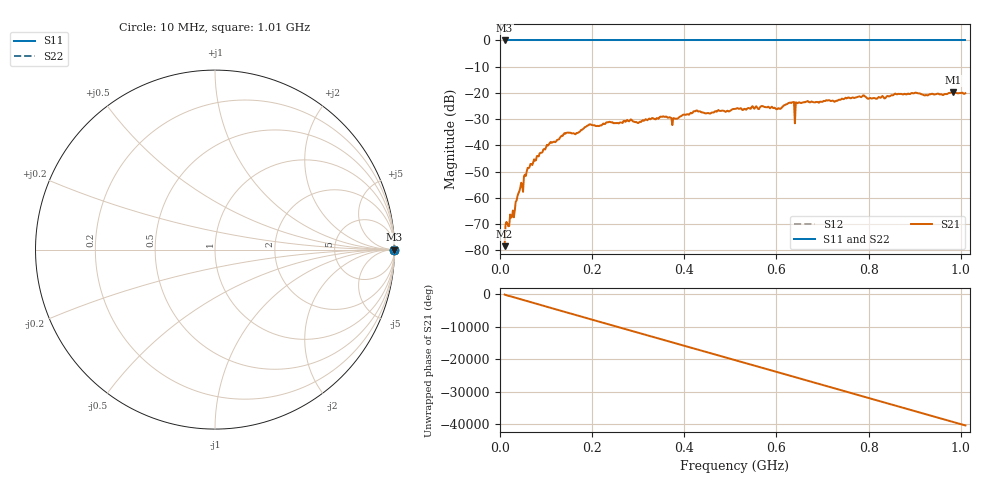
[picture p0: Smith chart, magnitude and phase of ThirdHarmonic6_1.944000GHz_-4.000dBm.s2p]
! 8/16/2025 11:24:45 PM
! C:\ANRITSUVNA\TEMP\TEMP.S2P
! CHANNEL.1
! TR.MEASUREMENT
! RAW.DATA
! RF.CORRECTION.OFF
! AVERAGING.OFF
! IF.BANDWIDTH: 5KHZ
! SWEEPTYPE:  FREQ.SWEEP(Linear)
! Reference Plane Port Info
! PORT:  PORT1  PORT2
! DISTANCE:  0  m  0  m
! TIME:  0  s  0  s
! PHASE.OFFSET:  0  deg.  0  deg.
! LOSS:  0  dB  0  dB
! REF.LOSS:  0  dB  0  dB
! REF.FREQ:  0  Hz  0  Hz
! Power Info
! POWER:  -20  dBm  -20  dBm
! EFF.POWER:  -20  dBm  -20  dBm
! SOURCE.ATTEN:  0  dB  0  dB
! TEST.ATTEN:  0  dB  0  dB
# GHZ S RI R 50.0
! FREQ.GHZ  S11RE  S11IM  S21RE  S21IM  S12RE  S12IM  S22RE  S22IM
!; PortSelection: Port_12
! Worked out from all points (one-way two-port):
!   501 points, 10 MHz to 1.01 GHz, reference 50 ohm
!   highest |S21| = -19.81 dB at 984 MHz (marker M1); lowest = -78.5 dB at 10 MHz (marker M2)
!   lowest |S11| = 0.0 dB at 10 MHz (marker M3)
!   |S11| at or under -10 dB: nowhere
!   |S22| runs from 0.0 to 0.0 dB; largest |S21 - S12| = 1.1
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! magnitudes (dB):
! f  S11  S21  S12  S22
! 10 MHz  0.0  -78.5  0.0  0.0
! 16 MHz  0.0  -69.9  0.0  0.0
! 28 MHz  0.0  -64.9  0.0  0.0
! 42 MHz  0.0  -57.5  0.0  0.0
! 64 MHz  0.0  -48.4  0.0  0.0
! 106 MHz  0.0  -39.6  0.0  0.0
! 142 MHz  0.0  -35.6  0.0  0.0
! 178 MHz  0.0  -34.1  0.0  0.0
! 194 MHz  0.0  -32.0  0.0  0.0
! 344 MHz  0.0  -29.9  0.0  0.0
! 378 MHz  0.0  -29.7  0.0  0.0
! 424 MHz  0.0  -27.0  0.0  0.0
! 452 MHz  0.0  -27.7  0.0  0.0
! 510 MHz  0.0  -26.0  0.0  0.0
! 604 MHz  0.0  -25.8  0.0  0.0
! 630 MHz  0.0  -23.6  0.0  0.0
! 644 MHz  0.0  -23.8  0.0  0.0
! 646 MHz  0.0  -23.9  0.0  0.0
! 678 MHz  0.0  -23.4  0.0  0.0
! 844 MHz  0.0  -21.4  0.0  0.0
! 984 MHz  0.0  -19.8  0.0  0.0
! 1.01 GHz  0.0  -20.1  0.0  0.0
